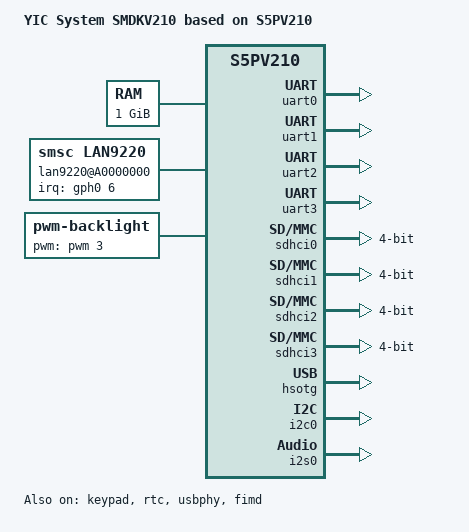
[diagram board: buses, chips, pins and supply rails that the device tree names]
/*
 * Samsung's S5PV210 SoC device tree source
 *
 * Copyright (c) 2013-2014 Samsung Electronics, Co. Ltd.
 *
 * Mateusz Krawczuk <m.krawczuk@partner.samsung.com>
 * Tomasz Figa <t.figa@samsung.com>
 *
 * Board device tree source for YIC System SMDV210 board.
 *
 * NOTE: This file is completely based on original board file for mach-smdkv210
 * available in Linux 3.15 and intends to provide equivalent level of hardware
 * support. Due to lack of hardware, _no_ testing has been performed.
 *
 * This program is free software; you can redistribute it and/or modify
 * it under the terms of the GNU General Public License version 2 as
 * published by the Free Software Foundation.
 */

/dts-v1/;
#include <dt-bindings/input/input.h>
#include <dt-bindings/interrupt-controller/irq.h>

#include "s5pv210.dtsi"

/ {
	model = "YIC System SMDKV210 based on S5PV210";
	compatible = "yic,smdkv210", "samsung,s5pv210";

	chosen {
		bootargs = "init=/init console=ttySAC1,115200 root=/dev/nfs rw nfsroot=192.168.1.70:/nfsroot/fs, nolock, tcp, rsize=4096, wsize=4096 ip=192.168.1.129:192.168.1.70:192.168.1.254:255.255.255.0::eth0:off";
	};

	memory {
		device_type = "memory";
		reg = <0x20000000 0x40000000>;
	};

	lan9220@A0000000 {
		compatible = "smsc,lan9220", "smsc,lan9115";
		reg = <0xA0000000 0x1000>;
		phy-mode = "mii";
		interrupt-parent = <&gph0>;
		interrupts = <6 IRQ_TYPE_LEVEL_LOW>;
		reg-io-width = <4>;
		smsc,force-internal-phy;
		smsc,irq-push-pull;
	};

	backlight {
		compatible = "pwm-backlight";
		pwms = <&pwm 3 5000000 0>;
		brightness-levels = <0 4 8 16 32 64 128 255>;
		default-brightness-level = <6>;
		pinctrl-names = "default";
		pinctrl-0 = <&pwm3_out>;
	};
};

&xxti{
   clock-frequency = <24000000>;
};

&xusbxti {
	clock-frequency = <24000000>;
};

&keypad {
	linux,input-no-autorepeat;
	linux,input-wakeup;
	samsung,keypad-num-rows = <8>;
	samsung,keypad-num-columns = <8>;
	pinctrl-names = "default";
	pinctrl-0 = <&keypad_row0>, <&keypad_row1>, <&keypad_row2>,
			<&keypad_row3>, <&keypad_row4>, <&keypad_row5>,
			<&keypad_row6>, <&keypad_row7>,
			<&keypad_col0>, <&keypad_col1>, <&keypad_col2>,
			<&keypad_col3>, <&keypad_col4>, <&keypad_col5>,
			<&keypad_col6>, <&keypad_col7>;
	status = "okay";

	key_1 {
		keypad,row = <0>;
		keypad,column = <3>;
		linux,code = <KEY_1>;
	};

	key_2 {
		keypad,row = <0>;
		keypad,column = <4>;
		linux,code = <KEY_2>;
	};

	key_3 {
		keypad,row = <0>;
		keypad,column = <5>;
		linux,code = <KEY_3>;
	};

	key_4 {
		keypad,row = <0>;
		keypad,column = <6>;
		linux,code = <KEY_4>;
	};

	key_5 {
		keypad,row = <0
		>;
		keypad,column = <7>;
		linux,code = <KEY_5>;
	};

	key_6 {
		keypad,row = <1>;
		keypad,column = <3>;
		linux,code = <KEY_A>;
	};
	key_7 {
		keypad,row = <1>;
		keypad,column = <4>;
		linux,code = <KEY_B>;
	};

	key_8 {
		keypad,row = <1>;
		keypad,column = <5>;
		linux,code = <KEY_C>;
	};

	key_9 {
		keypad,row = <1>;
		keypad,column = <6>;
		linux,code = <KEY_D>;
	};

	key_10 {
		keypad,row = <1>;
		keypad,column = <7>;
		linux,code = <KEY_E>;
	};
};

&uart0 {
	status = "okay";
};

&uart1 {
	status = "okay";
};

&uart2 {
	status = "okay";
};

&uart3 {
	status = "okay";
};

&rtc {
	status = "okay";
};

&sdhci0 {
	bus-width = <4>;
	pinctrl-0 = <&sd0_clk &sd0_cmd &sd0_cd &sd0_bus1 &sd0_bus4>;
	pinctrl-names = "default";
	status = "okay";
};

&sdhci1 {
	bus-width = <4>;
	pinctrl-0 = <&sd1_clk &sd1_cmd &sd1_cd &sd1_bus1 &sd1_bus4>;
	pinctrl-names = "default";
	status = "okay";
};

&sdhci2 {
	bus-width = <4>;
	pinctrl-0 = <&sd2_clk &sd2_cmd &sd2_cd &sd2_bus1 &sd2_bus4>;
	pinctrl-names = "default";
	status = "okay";
};

&sdhci3 {
	bus-width = <4>;
	pinctrl-0 = <&sd3_clk &sd3_cmd &sd3_cd &sd3_bus1 &sd3_bus4>;
	pinctrl-names = "default";
	status = "okay";
};

&hsotg {
	status = "okay";
};

&usbphy {
	status = "okay";
};

&fimd {
	pinctrl-0 = <&lcd_clk &lcd_data24>;
	pinctrl-names = "default";
	status = "okay";

	display-timings {
		native-mode = <&timing0>;

		timing0: timing@0 {
			/* 800x480@60Hz */
			clock-frequency = <24373920>;
			hactive = <800>;
			vactive = <480>;
			hfront-porch = <8>;
			hback-porch = <13>;
			hsync-len = <3>;
			vback-porch = <7>;
			vfront-porch = <5>;
			vsync-len = <1>;
			hsync-active = <0>;
			vsync-active = <0>;
			de-active = <1>;
			pixelclk-active = <1>;
		};
	};
};

&pwm {
	samsung,pwm-outputs = <3>;
};

&i2c0 {
	status = "okay";

	hidis-ts@46{
		compatible = "hidis,ts";
		reg = <0x46>;	
		interrupt-parent = <&gph1>;		
		interrupts = <11 IRQ_TYPE_EDGE_BOTH>;
		interval = <29>;
	};	
};

&i2s0 {
	status = "okay";
};
